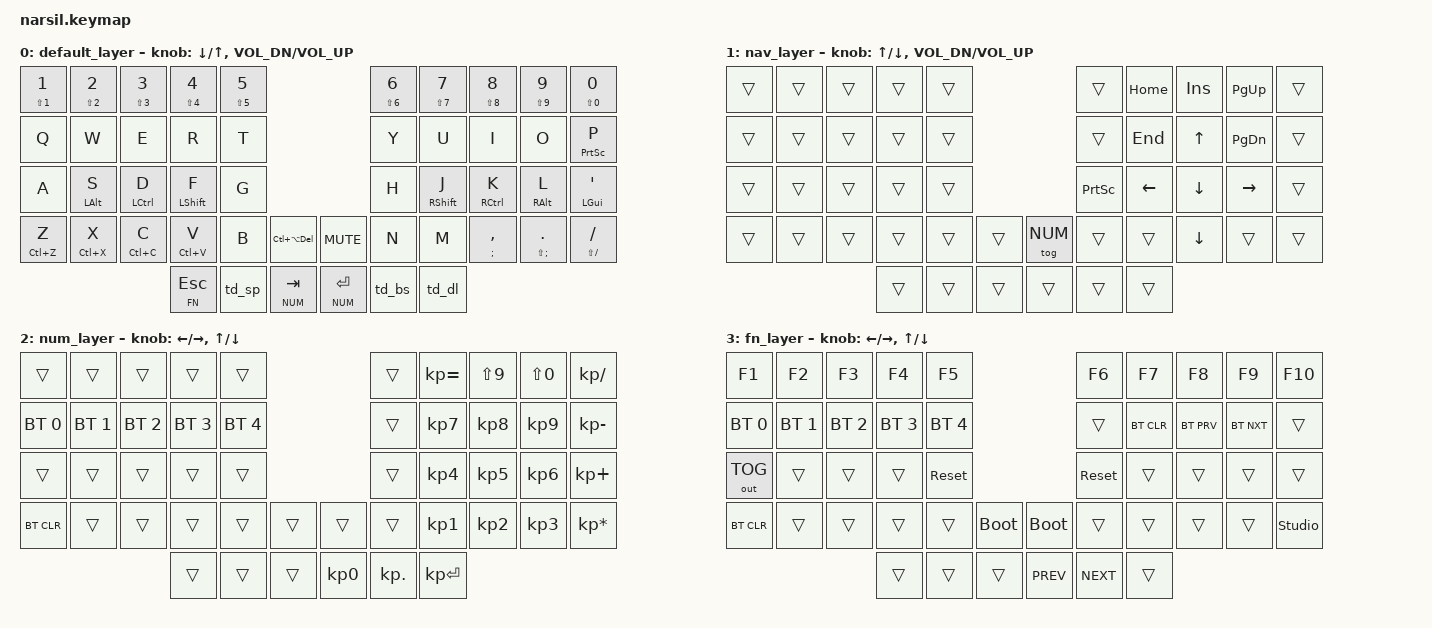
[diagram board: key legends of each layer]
/*
  * Copyright (c) 2024 The ZMK Contributors
  *
  * SPDX-License-Identifier: MIT
  *
  */

#include <behaviors.dtsi>
#include <dt-bindings/zmk/bt.h>
#include <dt-bindings/zmk/keys.h>
#include <dt-bindings/zmk/outputs.h>

// #include <dt-bindings/zmk/dynamic-macros.h>

#define DEFAULT 0
#define NAV     1
#define FN      2
#define NUM     3

&mt {
    quick-tap-ms = <100>;
    flavor = "tap-preferred";
    tapping-term-ms = <150>;
};

&lt {
    quick-tap-ms = <100>;
    tapping-term-ms = <200>;
};

/ {
    behaviors {
        pht: positional_hold_tap {
            compatible = "zmk,behavior-hold-tap";
            label = "POSITIONAL_HOLD_TAP";
            #binding-cells = <2>;
            flavor = "hold-preferred";
            tapping-term-ms = <400>;
            quick-tap-ms = <200>;
            bindings = <&kp>, <&kp>;

            hold-trigger-key-positions = <1>;    // <---[[the W key]]
            };
       rpi: require_prior_idle {
         compatible = "zmk,behavior-hold-tap";
         #binding-cells = <2>;
         flavor = "tap-preferred";
         tapping-term-ms = <200>;
         quick-tap-ms = <200>;
         require-prior-idle-ms = <125>;
         bindings = <&kp>, <&kp>;
         };

      td_sp: tap_dance_mod_tap_spc {
            compatible = "zmk,behavior-tap-dance";
            #binding-cells = <0>;
            tapping-term-ms = <200>;
            bindings = <&lt NAV SPACE>, <&kp SPACE>;
        };

      td_bs: tap_dance_mod_tap_bs {
            compatible = "zmk,behavior-tap-dance";
            #binding-cells = <0>;
            tapping-term-ms = <200>;
            bindings = <&lt NAV BSPC>, <&kp BSPC>;
        };

      td_dl: tap_dance_mod_tap_del {
            compatible = "zmk,behavior-tap-dance";
            #binding-cells = <0>;
            tapping-term-ms = <200>;
            bindings = <&lt FN DEL>, <&kp DEL>;
        };
    };
};

&sk {
    release-after-ms = <2000>;
    quick-release;

    /delete-property/ ignore-modifiers;
};

/ {
    combos {
        compatible = "zmk,combos";

        combo_grave {
            bindings = <&kp GRAVE>;
            key-positions = <0 1>;
            require-prior-idle-ms = <100>;
            layers = <0>;
        };

        combo_capslock {
            bindings = <&caps_word>;
            key-positions = <23 26>;
            require-prior-idle-ms = <100>;
            layers = <0>;
        };

        combo_hyphen {
            bindings = <&kp MINUS>;
            key-positions = <8 9>;
            require-prior-idle-ms = <100>;
            layers = <0>;
        };

        combo_equals {
            bindings = <&kp EQUAL>;
            key-positions = <18 19>;
            require-prior-idle-ms = <100>;
            layers = <0>;
        };

        combo_backslash {
            bindings = <&kp BSLH>;
            key-positions = <38 39>;
            require-prior-idle-ms = <100>;
            layers = <0>;
        };

        combo_rcd {
            bindings = <&rcd_macro>;
            key-positions = <12 13>;
            require-prior-idle-ms = <25>;
        };

        combo_rtc {
            bindings = <&rtc_macro>;
            key-positions = <13 14>;
            require-prior-idle-ms = <25>;
        };

        open_par {
            bindings = <&kp LEFT_PARENTHESIS>;
            key-positions = <43 44>;
            require-prior-idle-ms = <100>;
        };

        close_par {
            bindings = <&kp RIGHT_PARENTHESIS>;
            key-positions = <45 46>;
            require-prior-idle-ms = <100>;
        };

        open_brkt {
            bindings = <&kp LEFT_BRACKET>;
            key-positions = <42 43>;
            require-prior-idle-ms = <100>;
        };

        close_brkt {
            bindings = <&kp RIGHT_BRACKET>;
            key-positions = <46 47>;
            require-prior-idle-ms = <100>;
        };

        wes_combo {
            bindings = <&wes_macro>;
            key-positions = <11 12>;
            require-prior-idle-ms = <25>;
        };
        cdr_combo {
            bindings = <&cdr_macro>;
            key-positions = <32 33>;
            require-prior-idle-ms = <25>;
        };
    };
};

/ {
    macros {
        rcd_macro: rcd_macro {
            compatible = "zmk,behavior-macro";
            #binding-cells = <0>;
            bindings = <&kp R &kp I &kp T &kp C &kp H &kp I &kp E &kp UNDER &kp C &kp H &kp R &kp I &kp S &kp T &kp I &kp A &kp N &kp UNDER &kp D &kp AT &kp C &kp A &kp T &kp DOT &kp C &kp O &kp M>;
            label = "RCD_MACRO";
            wait-ms = <10>;
            tap-ms = <10>;
        };
        rtc_macro: rtc_macro {
            compatible = "zmk,behavior-macro";
            #binding-cells = <0>;
            bindings = <&kp R &kp I &kp T &kp C &kp H &kp C &kp D>;
            label = "RTC_MACRO";
            wait-ms = <10>;
            tap-ms = <10>;
        };
        wes_macro: wes_macro {
            compatible = "zmk,behavior-macro";
            #binding-cells = <0>;
            bindings = <&kp W &kp E &kp DOT &kp E &kp A &kp T &kp DOT &kp S &kp P &kp A &kp M &kp A &kp L &kp O &kp T &kp AT &kp G &kp M &kp A &kp I &kp L &kp DOT &kp C &kp O &kp M>;
            label = "WES_MACRO";
            wait-ms = <10>;
            tap-ms = <10>;
        };
        cdr_macro: cdr_macro {
            compatible = "zmk,behavior-macro";
            #binding-cells = <0>;
            bindings = <&kp C &kp H &kp R &kp I &kp S &kp T &kp I &kp A &kp N &kp DOT &kp D &kp DOT &kp R &kp I &kp T &kp C &kp H &kp I &kp E &kp AT &kp G &kp M &kp A &kp I &kp L &kp DOT &kp C &kp O &kp M>;
            label = "CDR_MACRO";
            wait-ms = <10>;
            tap-ms = <10>;
        };
    };

    keymap {
        compatible = "zmk,keymap";

        default_layer {
            // -------------------------------------------------------------------------------------------------
            // | 1     | 2    | 3    | 4   | 5   |                               | 6   | 7   | 8   | 9   | 0   |
            // | Q     | W    | E    | R   | T   |                               | Y   | U   | I   | O   | P   |
            // | A     | S    | D    | F   | G   |                               | H   | J   | K   | L   | ;   |
            // | Z     | X    | C    | V   | B   |  C/A/D  |            |  MUTE  | N   | M   | ,   | .   | /   |
            //                     | FN/ESC|NAV/SPACE|NUM/TAB|      |NUM/ENTER|NAV/BSPACE|FN/DEL |

            bindings = <
//╭──────────────┬──────────────┬──────────────┬──────────────┬──────────────╮                                     ╭──────────────┬──────────────┬──────────────┬──────────────┬─────────────────────╮
   &rpi LS(N1) N1 &rpi LS(N2) N2 &rpi LS(N3) N3 &rpi LS(N4) N4 &rpi LS(N5) N5                                       &rpi LS(N6) N6 &rpi LS(N7) N7 &rpi LS(N8) N8 &rpi LS(N9) N9     &rpi LS(N0) N0
//├──────────────┼──────────────┼──────────────┼──────────────┼──────────────┤                                     ├──────────────┼──────────────┼──────────────┼──────────────┼─────────────────────┤ 
    &kp Q          &kp W          &kp E           &kp R           &kp T                                             &kp Y          &kp U          &kp I            &kp O              &rpi PSCRN P
//├──────────────┼──────────────┼──────────────┼──────────────┼──────────────┤                                     ├──────────────┼──────────────┼──────────────┼──────────────┼─────────────────────┤ 
    &kp A          &mt LALT S     &mt LCTRL D     &mt LSHFT F     &kp G                                             &kp H          &mt RSHFT J    &mt RCTRL K      &mt RALT L         &mt LGUI SQT
//├──────────────┼──────────────┼──────────────┼──────────────┼──────────────┼─────────────────╮ ╭─────────────────┼──────────────┼──────────────┼──────────────┼──────────────┼─────────────────────┤ 
    &rpi LC(Z) Z   &rpi LC(X) X   &rpi LC(C) C    &rpi LC(V) V    &kp B        &kp LC(LA(DEL))     &kp C_MUTE       &kp N          &kp M         &rpi SEMI COMMA &rpi LS(SEMI) DOT &rpi LS(FSLH) FSLH
//╰──────────────┴──────────────┴──────────────┼──────────────┼──────────────┼─────────────────┤ ├─────────────────┼──────────────┼──────────────┼──────────────┴──────────────┴─────────────────────╯ 
                                                  &lt FN ESC      &td_sp          &lt NUM TAB      &lt NUM RET      &td_bs         &td_dl
//                                             ╰──────────────┴──────────────┴─────────────────╯ ╰─────────────────┴──────────────┴──────────────╯
            >;

            sensor-bindings = <&inc_dec_kp DOWN UP &inc_dec_kp C_VOL_DN C_VOL_UP>;
        };

nav_layer {
            bindings = <
//╭──────────────┬──────────────┬──────────────┬──────────────┬──────────────╮                                     ╭──────────────┬──────────────┬──────────────┬──────────────┬─────────────────────╮
    &trans          &trans          &trans          &trans          &trans                                             &trans         &kp HOME      &kp INS       &kp PG_UP      &trans
//├──────────────┼──────────────┼──────────────┼──────────────┼──────────────┤                                     ├──────────────┼──────────────┼──────────────┼──────────────┼─────────────────────┤ 
    &trans          &trans          &trans          &trans          &trans                                             &trans         &kp END       &kp UP        &kp PG_DN      &trans
//├──────────────┼──────────────┼──────────────┼──────────────┼──────────────┤                                     ├──────────────┼──────────────┼──────────────┼──────────────┼─────────────────────┤ 
    &trans          &trans          &trans          &trans          &trans                                             &kp PSCRN      &kp LEFT      &kp DOWN      &kp RIGHT      &trans
//├──────────────┼──────────────┼──────────────┼──────────────┼──────────────┼─────────────────╮ ╭─────────────────┼──────────────┼──────────────┼──────────────┼──────────────┼─────────────────────┤ 
    &trans          &trans          &trans          &trans          &trans      &trans              &tog NUM           &trans         &trans        &kp DOWN      &trans         &trans
//╰──────────────┴──────────────┴──────────────┼──────────────┼──────────────┼─────────────────┤ ├─────────────────┼──────────────┼──────────────┼──────────────┴──────────────┴─────────────────────╯ 
                                                   &trans          &trans          &trans              &trans           &trans         &trans
//                                             ╰──────────────┴──────────────┴─────────────────╯ ╰─────────────────┴──────────────┴──────────────╯
            >;

            sensor-bindings = <&inc_dec_kp UP DOWN &inc_dec_kp C_VOL_DN C_VOL_UP>;
        };

num_layer {
            bindings = <
//╭──────────────┬──────────────┬──────────────┬──────────────┬──────────────╮                                     ╭──────────────┬──────────────┬──────────────┬──────────────┬─────────────────────╮
        &trans        &trans        &trans        &trans        &trans                                                  &trans       &kp KP_EQUAL   &kp LS(N9)      &kp LS(N0)    &kp KP_SLASH
//├──────────────┼──────────────┼──────────────┼──────────────┼──────────────┤                                     ├──────────────┼──────────────┼──────────────┼──────────────┼─────────────────────┤ 
    &bt BT_SEL 0   &bt BT_SEL 1   &bt BT_SEL 2    &bt BT_SEL 3  &bt BT_SEL 4                                            &trans       &kp KP_N7      &kp KP_N8       &kp KP_N9     &kp KP_MINUS
//├──────────────┼──────────────┼──────────────┼──────────────┼──────────────┤                                     ├──────────────┼──────────────┼──────────────┼──────────────┼─────────────────────┤ 
        &trans        &trans        &trans        &trans        &trans                                                  &trans       &kp KP_N4      &kp KP_N5       &kp KP_N6     &kp KP_PLUS
//├──────────────┼──────────────┼──────────────┼──────────────┼──────────────┼─────────────────╮ ╭─────────────────┼──────────────┼──────────────┼──────────────┼──────────────┼─────────────────────┤ 
      &bt BT_CLR        &trans        &trans        &trans        &trans           &trans          &trans               &trans       &kp KP_N1      &kp KP_N2       &kp KP_N3     &kp KP_ASTERISK
//╰──────────────┴──────────────┴──────────────┼──────────────┼──────────────┼─────────────────┤ ├─────────────────┼──────────────┼──────────────┼──────────────┴──────────────┴─────────────────────╯ 
                                                   &trans        &trans            &trans          &kp KP_N0          &kp KP_DOT    &kp KP_ENTER
//                                             ╰──────────────┴──────────────┴─────────────────╯ ╰─────────────────┴──────────────┴──────────────╯
            >;

            sensor-bindings = <&inc_dec_kp LEFT RIGHT &inc_dec_kp UP DOWN >;
         };

fn_layer {
            bindings = <
//╭──────────────┬──────────────┬──────────────┬──────────────┬──────────────╮                                     ╭──────────────┬──────────────┬──────────────┬──────────────┬─────────────────╮
        &kp F1        &kp F2        &kp F3        &kp F4        &kp F5                                                    &kp F6      &kp F7          &kp F8        &kp F9       &kp F10
//├──────────────┼──────────────┼──────────────┼──────────────┼──────────────┤                                     ├──────────────┼──────────────┼──────────────┼──────────────┼─────────────────┤ 
    &bt BT_SEL 0  &bt BT_SEL 1   &bt BT_SEL 2   &bt BT_SEL 3   &bt BT_SEL 4                                               &trans      &bt BT_CLR  &bt BT_PRV      &bt BT_NXT      &trans
//├──────────────┼──────────────┼──────────────┼──────────────┼──────────────┤                                     ├──────────────┼──────────────┼──────────────┼──────────────┼─────────────────┤ 
    &out OUT_TOG      &trans        &trans        &trans        &sys_reset                                            &sys_reset      &trans          &trans          &trans      &trans
//├──────────────┼──────────────┼──────────────┼──────────────┼──────────────┼─────────────────╮ ╭─────────────────┼──────────────┼──────────────┼──────────────┼──────────────┼─────────────────┤ 
    &bt BT_CLR        &trans        &trans        &trans          &trans        &bootloader           &bootloader       &trans      &trans          &trans          &trans        &studio_unlock
//╰──────────────┴──────────────┴──────────────┼──────────────┼──────────────┼─────────────────┤ ├─────────────────┼──────────────┼──────────────┼──────────────┴──────────────┴─────────────────╯ 
                                                  &trans            &trans        &trans                &kp C_PREV    &kp C_NEXT      &trans
//                                             ╰──────────────┴──────────────┴─────────────────╯ ╰─────────────────┴──────────────┴──────────────╯
            >;

            sensor-bindings = <&inc_dec_kp LEFT RIGHT &inc_dec_kp UP DOWN>;
        };
 extra1 {
            status = "reserved";
        };
 extra2 {
            status = "reserved";
        };
    };
};
// disable qspi flash for more power saving
&qspi { 
      status = "disabled"; 
      };
